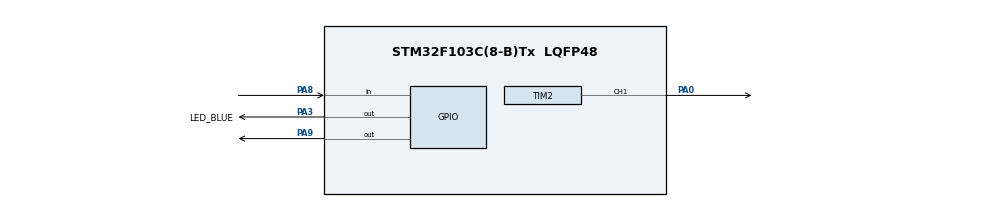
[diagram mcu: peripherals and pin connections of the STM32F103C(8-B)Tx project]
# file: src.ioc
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Mcu.Family=STM32F1
Mcu.Name=STM32F103C(8-B)Tx
Mcu.Package=LQFP48
NVIC.PriorityGroup=NVIC_PRIORITYGROUP_4
PA0-WKUP.Signal=S_TIM2_CH1_ETR
PA13.Mode=Serial_Wire
PA13.Signal=SYS_JTMS-SWDIO
PA14.Mode=Serial_Wire
PA14.Signal=SYS_JTCK-SWCLK
PA3.GPIO_Label=LED_BLUE
PA3.Signal=GPIO_Output
PA8.Signal=GPIO_Input
PA9.Signal=GPIO_Output
PD0-OSC_IN.Mode=HSE-External-Oscillator
PD0-OSC_IN.Signal=RCC_OSC_IN
PD1-OSC_OUT.Mode=HSE-External-Oscillator
PD1-OSC_OUT.Signal=RCC_OSC_OUT
ProjectManager.HeapSize=0x200
ProjectManager.StackSize=0x400
ProjectManager.TargetToolchain=EWARM V8.32
RCC.APB1Freq_Value=8000000
RCC.APB2Freq_Value=8000000
SH.S_TIM2_CH1_ETR.0=TIM2_CH1,PWM Generation1 CH1
TIM2.Channel-PWM\ Generation1\ CH1=TIM_CHANNEL_1
TIM2.Prescaler=20
VP_TIM2_VS_ClockSourceINT.Mode=Internal
board=custom

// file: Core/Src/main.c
/* USER CODE BEGIN Header */
/**
  ******************************************************************************
  * @file           : main.c
  * @brief          : Main program body
  ******************************************************************************
  * @attention
  *
  * Copyright (c) 2025 STMicroelectronics.
  * All rights reserved.
  *
  * This software is licensed under terms that can be found in the LICENSE file
  * in the root directory of this software component.
  * If no LICENSE file comes with this software, it is provided AS-IS.
  *
  ******************************************************************************
  */
/* USER CODE END Header */
#include "main.h"

/* USER CODE BEGIN Includes */
#include <stdbool.h>
/* USER CODE END Includes */

/* USER CODE BEGIN PD */
#define TRIG_PIN GPIO_PIN_9
#define TRIG_PORT GPIOA
#define	ECHO_PIN GPIO_PIN_8
#define	ECHO_PORT GPIOA
/* USER CODE END PD */

TIM_HandleTypeDef htim2;

/* USER CODE BEGIN PV */

//servo var
int32_t pwm_val = 0;
bool direction = 0;
//servo var

//distance meter var
uint32_t pMillis;
uint32_t Value1 = 0;
uint32_t Value2 = 0;
uint16_t Distance = 0; //cm
//distance meter var

/* USER CODE END PV */

void SystemClock_Config(void);
static void MX_GPIO_Init(void);
static void MX_TIM2_Init(void);
/* USER CODE BEGIN PFP */
void calculate_distance();
/* USER CODE END PFP */

int main(void)
{

  /* MCU Configuration--------------------------------------------------------*/

  /* Reset of all peripherals, Initializes the Flash interface and the Systick. */
  HAL_Init();

  /* Configure the system clock */
  SystemClock_Config();

  /* Initialize all configured peripherals */
  MX_GPIO_Init();
  MX_TIM2_Init();
  /* USER CODE BEGIN 2 */

  HAL_TIM_PWM_Start(&htim2, TIM_CHANNEL_1);

  HAL_TIM_Base_Start(&htim2);
  HAL_GPIO_WritePin(TRIG_PORT, TRIG_PIN, GPIO_PIN_RESET);

  /* USER CODE END 2 */

  /* Infinite loop */
  /* USER CODE BEGIN WHILE */
  while (1)
  {
	  if(pwm_val < 1920){
		  direction = 1;
	  }
	  else if(pwm_val > 7680){
		  direction = 0;
	  }
	  if(direction) {
		  pwm_val += 5;
	  }
	  else {
		  pwm_val -= 5;
	  }

	  __HAL_TIM_SET_COMPARE(&htim2, TIM_CHANNEL_1, pwm_val);
	  calculate_distance();
	  HAL_Delay(1);

    /* USER CODE END WHILE */

  }
}

void SystemClock_Config(void)
{
  RCC_OscInitTypeDef RCC_OscInitStruct = {0};
  RCC_ClkInitTypeDef RCC_ClkInitStruct = {0};

  /** Initializes the RCC Oscillators according to the specified parameters
  * in the RCC_OscInitTypeDef structure.
  */
  RCC_OscInitStruct.OscillatorType = RCC_OSCILLATORTYPE_HSI;
  RCC_OscInitStruct.HSIState = RCC_HSI_ON;
  RCC_OscInitStruct.HSICalibrationValue = RCC_HSICALIBRATION_DEFAULT;
  RCC_OscInitStruct.PLL.PLLState = RCC_PLL_NONE;
  if (HAL_RCC_OscConfig(&RCC_OscInitStruct) != HAL_OK)
  {
    Error_Handler();
  }

  /** Initializes the CPU, AHB and APB buses clocks
  */
  RCC_ClkInitStruct.ClockType = RCC_CLOCKTYPE_HCLK|RCC_CLOCKTYPE_SYSCLK
                              |RCC_CLOCKTYPE_PCLK1|RCC_CLOCKTYPE_PCLK2;
  RCC_ClkInitStruct.SYSCLKSource = RCC_SYSCLKSOURCE_HSI;
  RCC_ClkInitStruct.AHBCLKDivider = RCC_SYSCLK_DIV1;
  RCC_ClkInitStruct.APB1CLKDivider = RCC_HCLK_DIV1;
  RCC_ClkInitStruct.APB2CLKDivider = RCC_HCLK_DIV1;

  if (HAL_RCC_ClockConfig(&RCC_ClkInitStruct, FLASH_LATENCY_0) != HAL_OK)
  {
    Error_Handler();
  }
}

static void MX_TIM2_Init(void)
{

  TIM_ClockConfigTypeDef sClockSourceConfig = {0};
  TIM_MasterConfigTypeDef sMasterConfig = {0};
  TIM_OC_InitTypeDef sConfigOC = {0};

  htim2.Instance = TIM2;
  htim2.Init.Prescaler = 20;
  htim2.Init.CounterMode = TIM_COUNTERMODE_UP;
  htim2.Init.Period = 65535;
  htim2.Init.ClockDivision = TIM_CLOCKDIVISION_DIV1;
  htim2.Init.AutoReloadPreload = TIM_AUTORELOAD_PRELOAD_DISABLE;
  if (HAL_TIM_Base_Init(&htim2) != HAL_OK)
  {
    Error_Handler();
  }
  sClockSourceConfig.ClockSource = TIM_CLOCKSOURCE_INTERNAL;
  if (HAL_TIM_ConfigClockSource(&htim2, &sClockSourceConfig) != HAL_OK)
  {
    Error_Handler();
  }
  if (HAL_TIM_PWM_Init(&htim2) != HAL_OK)
  {
    Error_Handler();
  }
  sMasterConfig.MasterOutputTrigger = TIM_TRGO_RESET;
  sMasterConfig.MasterSlaveMode = TIM_MASTERSLAVEMODE_DISABLE;
  if (HAL_TIMEx_MasterConfigSynchronization(&htim2, &sMasterConfig) != HAL_OK)
  {
    Error_Handler();
  }
  sConfigOC.OCMode = TIM_OCMODE_PWM1;
  sConfigOC.Pulse = 0;
  sConfigOC.OCPolarity = TIM_OCPOLARITY_HIGH;
  sConfigOC.OCFastMode = TIM_OCFAST_DISABLE;
  if (HAL_TIM_PWM_ConfigChannel(&htim2, &sConfigOC, TIM_CHANNEL_1) != HAL_OK)
  {
    Error_Handler();
  }
  HAL_TIM_MspPostInit(&htim2);

}

static void MX_GPIO_Init(void)
{
  GPIO_InitTypeDef GPIO_InitStruct = {0};

  /* GPIO Ports Clock Enable */
  __HAL_RCC_GPIOD_CLK_ENABLE();
  __HAL_RCC_GPIOA_CLK_ENABLE();

  /*Configure GPIO pin Output Level */
  HAL_GPIO_WritePin(GPIOA, LED_BLUE_Pin|GPIO_PIN_9, GPIO_PIN_RESET);

  /*Configure GPIO pins : LED_BLUE_Pin PA9 */
  GPIO_InitStruct.Pin = LED_BLUE_Pin|GPIO_PIN_9;
  GPIO_InitStruct.Mode = GPIO_MODE_OUTPUT_PP;
  GPIO_InitStruct.Pull = GPIO_NOPULL;
  GPIO_InitStruct.Speed = GPIO_SPEED_FREQ_LOW;
  HAL_GPIO_Init(GPIOA, &GPIO_InitStruct);

  /*Configure GPIO pin : PA8 */
  GPIO_InitStruct.Pin = GPIO_PIN_8;
  GPIO_InitStruct.Mode = GPIO_MODE_INPUT;
  GPIO_InitStruct.Pull = GPIO_NOPULL;
  HAL_GPIO_Init(GPIOA, &GPIO_InitStruct);

}

void Error_Handler(void)
{
  __disable_irq();
  while (1)
  {
  }
}
